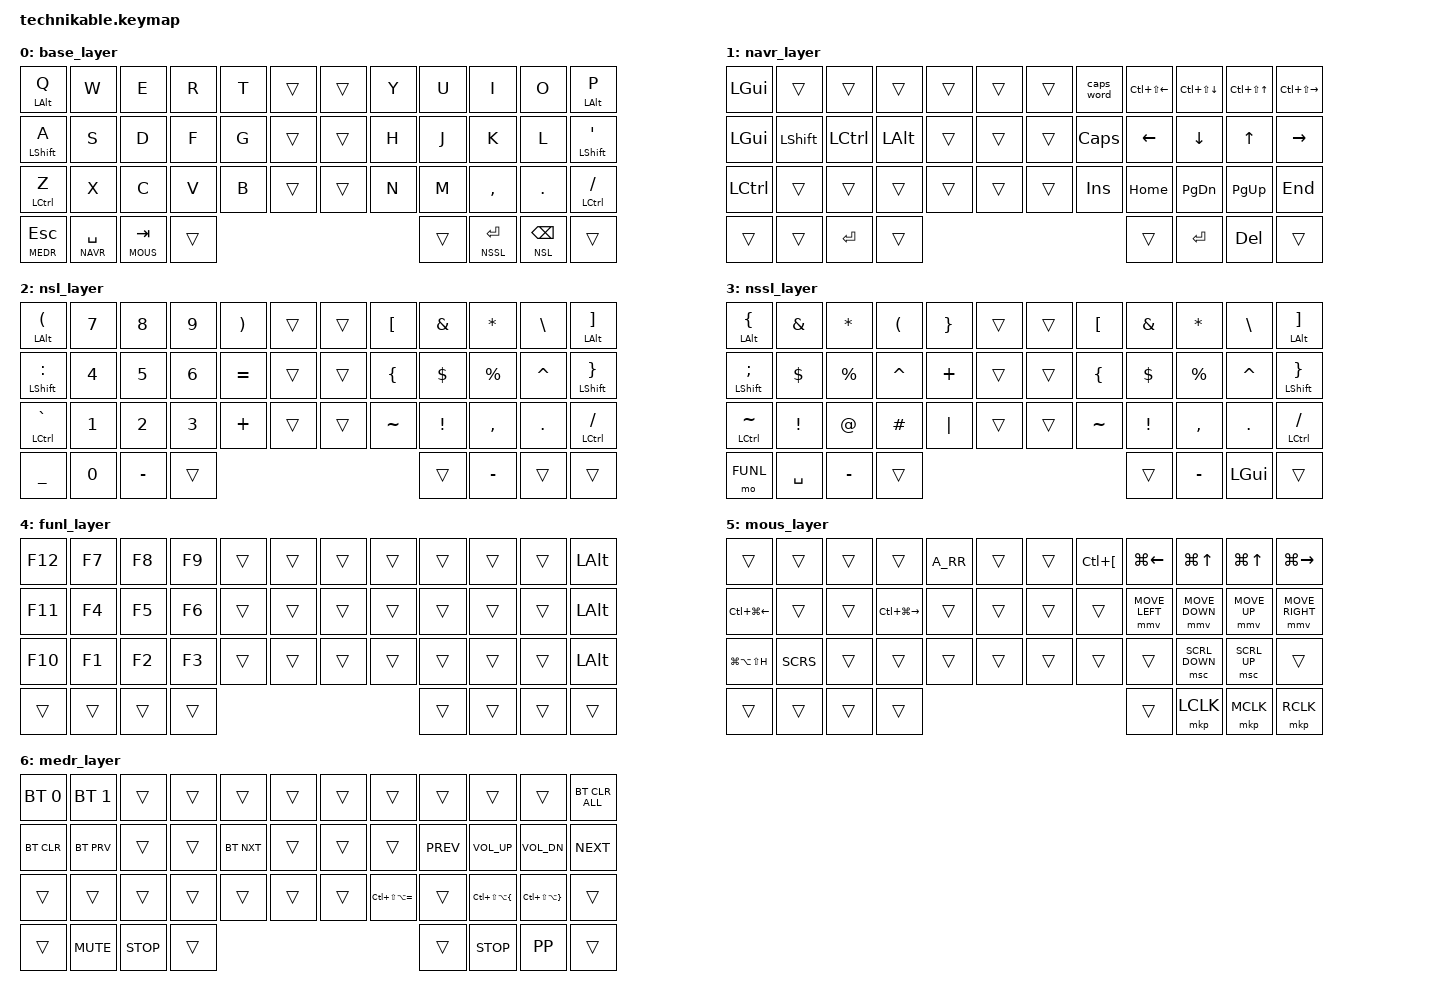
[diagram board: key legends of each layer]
/*
 * Copyright (c) 2022 Pete Johanson
 *
 * SPDX-License-Identifier: MIT
 */

#define ZMK_POINTING_DEFAULT_MOVE_VAL 1200  // default: 600

#include <behaviors.dtsi>
#include <dt-bindings/zmk/keys.h>
#include <dt-bindings/zmk/bt.h>
#include <dt-bindings/zmk/outputs.h>
#include <dt-bindings/zmk/pointing.h>

#define BASE 0
#define NAVR 1
#define NSL  2
#define NSSL 3
#define FUNL 4
#define MOUS 5
#define MEDR 6

#define A_SFW LG(LA(LS(H))) // Amethyst: Swap Focused Window to Clockwise Screen
#define BCK LC(LBKT) // Navigate Back
#define SL LG(LEFT) // Move a Space Left
#define SR LG(RIGHT) // Move a Space Right
#define MC LG(UP) // Mission Control
#define ST LC(LS(LA(EQL))) // Shade: Toggle On/Off
#define SD LC(LS(LA(LBRC))) // Shade: Brightness Up
#define SU LC(LS(LA(RBRC))) // Shade: Brightness Down
#define THR_R LC(LG(RIGHT)) //Throw the Active Window to the Space to the Right
#define THR_L LC(LG(LEFT)) //Throw the Active Window to the Space to the Left
#define TAB_L LC(LS(LEFT)) // Switch to the Tab to the Left
#define TAB_R LC(LS(RIGHT)) // Switch to the Tab to the Right
#define TAB_U LC(LS(UP)) // Switch to the Tab Above
#define TAB_D LC(LS(DOWN)) // Switch to the Tab Below

&mt {
    tapping-term-ms = <160>;
};

/ {

        behaviors {
                A_RR: tap_dance_0 {
                    compatible = "zmk,behavior-tap-dance";
                    label = "A_RR";
                    #binding-cells = <0>;
                    tapping-term-ms = <200>;
                    bindings = <&kp LC(LS(LA(X)))>, <&kp LC(LS(LA(Z)))>;  // Yabai: Make Window Fill Space (One Tap) or Reset Yabai (Two Taps)
                };

                SCRS: tap_dance_1 {
                    compatible = "zmk,behavior-tap-dance";
                    label = "SCRS";
                    #binding-cells = <0>;
                    tapping-term-ms = <200>;
                    bindings = <&kp LG(LS(S))>, <&kp LC(LS(N4))>;  // Screenshot to Clipboard (One Tap) or to Desktop (Two Taps)               
                };
                umla: umlaut_a {
                    compatible = "zmk,behavior-mod-morph";
                    label = "UMLAUT_A";
                    #binding-cells = <0>;
                    bindings = <&kp A>, <&kp B>;
                    mods = <(MOD_LALT)>;
                };
        };

        keymap {
                compatible = "zmk,keymap";

                base_layer {
                        bindings = <
   &mt LALT Q  &kp W &kp E &kp R &kp T &trans &trans &kp Y &kp U  &kp I     &kp O   &mt LALT P
   &mt LSHFT A &kp S &kp D &kp F &kp G &trans &trans &kp H &kp J  &kp K     &kp L   &mt LSHFT SQT
   &mt LCTRL Z &kp X &kp C &kp V &kp B &trans &trans &kp N &kp M  &kp COMMA &kp DOT &mt LCTRL FSLH
   &lt MEDR ESC &lt NAVR SPACE &lt MOUS TAB &trans &trans &lt NSSL ENTER &lt NSL BSPC &trans
                        >;
                };

                navr_layer {
                        bindings = <
   &kp LGUI  &trans    &trans    &trans   &trans &trans &trans &caps_word &kp TAB_L &kp TAB_D &kp TAB_U &kp TAB_R
   &kp LGUI  &kp LSHFT &kp LCTRL &kp LALT &trans &trans &trans &kp CLCK   &kp LEFT  &kp DOWN  &kp UP    &kp RIGHT
   &kp LCTRL &trans    &trans    &trans   &trans &trans &trans &kp INS    &kp HOME  &kp PG_DN &kp PG_UP &kp END
                       &trans    &trans   &kp ENTER &trans &trans &kp ENTER  &kp DEL   &trans
                        >;
                };

                nsl_layer {
                        bindings = <
   &mt LALT LPRN   &kp N7 &kp N8    &kp N9 &kp RPRN  &trans &trans &kp LBKT  &kp AMPS &kp ASTRK &kp BSLH  &mt LALT RBKT
   &mt LSHFT COLON &kp N4 &kp N5    &kp N6 &kp EQUAL &trans &trans &kp LBRC  &kp DLLR &kp PRCNT &kp CARET &mt LSHFT RBRC 
   &mt LCTRL GRAVE &kp N1 &kp N2    &kp N3 &kp PLUS  &trans &trans &kp TILDE &kp EXCL &kp COMMA &kp DOT   &mt LCTRL SLASH
                          &kp UNDER &kp N0 &kp MINUS &trans &trans &kp MINUS &trans   &trans
                        >;
                };

                nssl_layer {
                        bindings = <
   &mt LALT LBRC   &kp AMPS &kp ASTRK &kp LPAR  &kp RBRC &trans &trans &kp LBKT  &kp AMPS &kp ASTRK &kp BSLH  &mt LALT RBKT
   &mt LSHFT SEMI  &kp DLLR &kp PRCNT &kp CARET &kp PLUS &trans &trans &kp LBRC  &kp DLLR &kp PRCNT &kp CARET &mt LSHFT RBRC 
   &mt LCTRL TILDE &kp EXCL &kp AT    &kp HASH  &kp PIPE &trans &trans &kp TILDE &kp EXCL &kp COMMA &kp DOT   &mt LCTRL SLASH
                            &mo FUNL  &kp SPACE &kp MINUS &trans &trans &kp MINUS &kp LGUI &trans
                        >;
                };
                
                funl_layer {
                        bindings = <
   &kp F12 &kp F7 &kp F8 &kp F9 &trans &trans &trans &trans &trans &trans &trans &kp LALT
   &kp F11 &kp F4 &kp F5 &kp F6 &trans &trans &trans &trans &trans &trans &trans &kp LALT
   &kp F10 &kp F1 &kp F2 &kp F3 &trans &trans &trans &trans &trans &trans &trans &kp LALT
                  &trans &trans &trans &trans &trans &trans &trans &trans
                        >;
                };

                mous_layer {
                        bindings = <
   &trans    &trans   &trans &trans    &A_RR &trans &trans &kp BCK &kp SL &kp MC &kp MC &kp SR
   &kp THR_L &trans   &trans &kp THR_R &trans &trans &trans &trans  &mmv MOVE_LEFT &mmv MOVE_DOWN &mmv MOVE_UP &mmv MOVE_RIGHT
   &kp A_SFW &SCRS    &trans &trans    &trans &trans &trans &trans  &trans &msc SCRL_DOWN &msc SCRL_UP &trans
                      &trans &trans    &trans &trans &trans &mkp LCLK  &mkp MCLK &mkp RCLK
                        >;
                };

                medr_layer {
                        bindings = <
   &bt BT_SEL 0     &bt BT_SEL 1     &trans &trans &trans &trans &trans &trans &trans     &trans       &trans       &bt BT_CLR_ALL
   &bt BT_CLR &bt BT_PRV &trans &trans &bt BT_NXT &trans &trans &trans &kp K_PREV &kp K_VOL_UP &kp K_VOL_DN &kp K_NEXT
   &trans     &trans     &trans &trans &trans &trans &trans &kp ST &trans     &kp SD       &kp SU       &trans
         &trans &kp K_MUTE &kp K_STOP &trans &trans &kp K_STOP &kp K_PP &trans
                        >;
                };
        };
};
